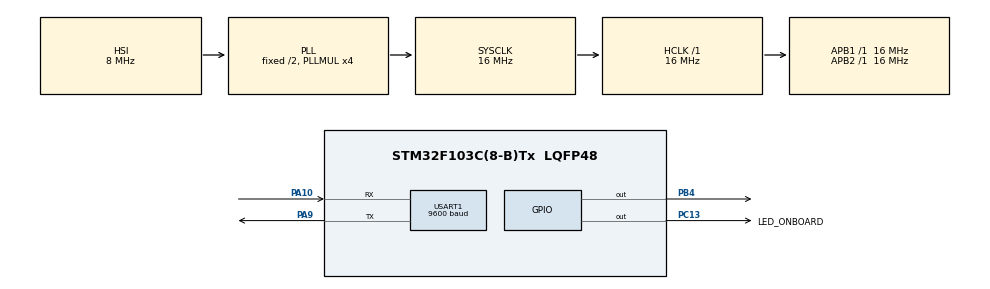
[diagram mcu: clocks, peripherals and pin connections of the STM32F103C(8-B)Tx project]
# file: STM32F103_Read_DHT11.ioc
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Mcu.Family=STM32F1
Mcu.Name=STM32F103C(8-B)Tx
Mcu.Package=LQFP48
NVIC.PriorityGroup=NVIC_PRIORITYGROUP_4
NVIC.USART1_IRQn=true\:0\:0\:false\:false\:true\:true\:true\:true
PA10.Mode=Asynchronous
PA10.Signal=USART1_RX
PA13.Mode=Serial_Wire
PA13.Signal=SYS_JTMS-SWDIO
PA14.Mode=Serial_Wire
PA14.Signal=SYS_JTCK-SWCLK
PA9.Mode=Asynchronous
PA9.Signal=USART1_TX
PB4.GPIO_ModeDefaultOutputPP=GPIO_MODE_OUTPUT_OD
PB4.GPIO_PuPd=GPIO_NOPULL
PB4.Signal=GPIO_Output
PC13-TAMPER-RTC.GPIO_Label=LED_ONBOARD
PC13-TAMPER-RTC.Signal=GPIO_Output
PD0-OSC_IN.Mode=HSE-External-Oscillator
PD0-OSC_IN.Signal=RCC_OSC_IN
PD1-OSC_OUT.Mode=HSE-External-Oscillator
PD1-OSC_OUT.Signal=RCC_OSC_OUT
ProjectManager.HeapSize=0x200
ProjectManager.StackSize=0x400
ProjectManager.TargetToolchain=STM32CubeIDE
RCC.AHBFreq_Value=16000000
RCC.APB1Freq_Value=16000000
RCC.APB1TimFreq_Value=16000000
RCC.APB2Freq_Value=16000000
RCC.APB2TimFreq_Value=16000000
RCC.HCLKFreq_Value=16000000
RCC.PLLMUL=RCC_PLL_MUL4
RCC.SYSCLKFreq_VALUE=16000000
RCC.SYSCLKSource=RCC_SYSCLKSOURCE_PLLCLK
RCC.USBFreq_Value=16000000
TIM2.Prescaler=15
USART1.BaudRate=9600
USART1.VirtualMode=VM_ASYNC
VP_TIM2_VS_ClockSourceINT.Mode=Internal
board=custom

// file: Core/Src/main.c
/* USER CODE BEGIN Header */
/**
  ******************************************************************************
  * @file           : main.c
  * @brief          : Main program body
  ******************************************************************************
  * @attention
  *
  * Copyright (c) 2025 STMicroelectronics.
  * All rights reserved.
  *
  * This software is licensed under terms that can be found in the LICENSE file
  * in the root directory of this software component.
  * If no LICENSE file comes with this software, it is provided AS-IS.
  *
  ******************************************************************************
  */
/* USER CODE END Header */
#include "main.h"

/* USER CODE BEGIN Includes */
#include "DHT11.h"
#include <stdio.h>
#include <string.h>
//#include "usart.h"
/* USER CODE END Includes */

TIM_HandleTypeDef htim2;

UART_HandleTypeDef huart1;

/* USER CODE BEGIN PV */
volatile int temperature = 0;
dht11_t dht11_sensor;
char uartBuffer[20];
/* USER CODE END PV */

void SystemClock_Config(void);
static void MX_GPIO_Init(void);
static void MX_TIM2_Init(void);
static void MX_USART1_UART_Init(void);

int main(void)
{

  /* MCU Configuration--------------------------------------------------------*/

  /* Reset of all peripherals, Initializes the Flash interface and the Systick. */
  HAL_Init();

  /* Configure the system clock */
  SystemClock_Config();

  /* Initialize all configured peripherals */
  MX_GPIO_Init();
  MX_TIM2_Init();
  MX_USART1_UART_Init();
  /* USER CODE BEGIN 2 */
  init_dht11(&dht11_sensor, &htim2, GPIOB, GPIO_PIN_4);
  HAL_TIM_Base_Start(&htim2);

//  // Gửi lệnh AT để kiểm tra kết nối HM10
//  char at_cmd[] = "AT\r\n";
//  HAL_UART_Transmit(&huart1, (uint8_t*)at_cmd, strlen(at_cmd), HAL_MAX_DELAY);
//  HAL_Delay(1000); // Đợi phản hồi từ HM10
//
//  // Cấu hình HM10 thành chế độ BLE Peripheral
//  char cmd_role[] = "AT+ROLE1\r\n";
//  HAL_UART_Transmit(&huart1, (uint8_t*)cmd_role, strlen(cmd_role), HAL_MAX_DELAY);
//  HAL_Delay(1000);
//
//  // Đặt tên cho module HM10 (tùy chọn)
//  char cmd_name[] = "AT+NAMEhm10\r\n";
//  HAL_UART_Transmit(&huart1, (uint8_t*)cmd_name, strlen(cmd_name), HAL_MAX_DELAY);
//  HAL_Delay(1000);
//
//  // Khởi động lại HM10 để áp dụng cấu hình
//  char cmd_reset[] = "AT+RESET\r\n";
//  HAL_UART_Transmit(&huart1, (uint8_t*)cmd_reset, strlen(cmd_reset), HAL_MAX_DELAY);
//  HAL_Delay(2000); // Chờ module khởi động lại
//  /* USER CODE END 2 */

  /* Infinite loop */
  /* USER CODE BEGIN WHILE */
  while (1)
  {
	  HAL_GPIO_WritePin(LED_ONBOARD_GPIO_Port, LED_ONBOARD_Pin, GPIO_PIN_SET);
	  HAL_Delay(200);
	  HAL_GPIO_WritePin(LED_ONBOARD_GPIO_Port, LED_ONBOARD_Pin, GPIO_PIN_RESET);
	  HAL_Delay(200);
	  // ReaD DHT11
	  if (readDHT11(&dht11_sensor)) {
		// Lưu giá trị nhiệt độ vào biến global
		temperature = dht11_sensor.temperature;
	  }

	  HAL_GPIO_WritePin(LED_ONBOARD_GPIO_Port, LED_ONBOARD_Pin, GPIO_PIN_SET);
	  HAL_Delay(200);
	  HAL_GPIO_WritePin(LED_ONBOARD_GPIO_Port, LED_ONBOARD_Pin, GPIO_PIN_RESET);
	  HAL_Delay(200);
	  HAL_Delay(3000);

	  // Định dạng dữ liệu dưới dạng chuỗi
	  sprintf(uartBuffer, "Temp: %d C\r\n", temperature);
//	  sprintf(uartBuffer, "Temp: 100 C\r\n");

	  // Gửi dữ liệu qua USART1
	  HAL_UART_Transmit(&huart1, (uint8_t*)uartBuffer, strlen(uartBuffer), 100);

	  // Đợi 1 giây rồi gửi tiếp
	  HAL_Delay(1000);

    /* USER CODE END WHILE */

  }
}

void SystemClock_Config(void)
{
  RCC_OscInitTypeDef RCC_OscInitStruct = {0};
  RCC_ClkInitTypeDef RCC_ClkInitStruct = {0};

  /** Initializes the RCC Oscillators according to the specified parameters
  * in the RCC_OscInitTypeDef structure.
  */
  RCC_OscInitStruct.OscillatorType = RCC_OSCILLATORTYPE_HSI;
  RCC_OscInitStruct.HSIState = RCC_HSI_ON;
  RCC_OscInitStruct.HSICalibrationValue = RCC_HSICALIBRATION_DEFAULT;
  RCC_OscInitStruct.PLL.PLLState = RCC_PLL_ON;
  RCC_OscInitStruct.PLL.PLLSource = RCC_PLLSOURCE_HSI_DIV2;
  RCC_OscInitStruct.PLL.PLLMUL = RCC_PLL_MUL4;
  if (HAL_RCC_OscConfig(&RCC_OscInitStruct) != HAL_OK)
  {
    Error_Handler();
  }

  /** Initializes the CPU, AHB and APB buses clocks
  */
  RCC_ClkInitStruct.ClockType = RCC_CLOCKTYPE_HCLK|RCC_CLOCKTYPE_SYSCLK
                              |RCC_CLOCKTYPE_PCLK1|RCC_CLOCKTYPE_PCLK2;
  RCC_ClkInitStruct.SYSCLKSource = RCC_SYSCLKSOURCE_PLLCLK;
  RCC_ClkInitStruct.AHBCLKDivider = RCC_SYSCLK_DIV1;
  RCC_ClkInitStruct.APB1CLKDivider = RCC_HCLK_DIV1;
  RCC_ClkInitStruct.APB2CLKDivider = RCC_HCLK_DIV1;

  if (HAL_RCC_ClockConfig(&RCC_ClkInitStruct, FLASH_LATENCY_0) != HAL_OK)
  {
    Error_Handler();
  }
}

static void MX_TIM2_Init(void)
{

  TIM_ClockConfigTypeDef sClockSourceConfig = {0};
  TIM_MasterConfigTypeDef sMasterConfig = {0};

  htim2.Instance = TIM2;
  htim2.Init.Prescaler = 15;
  htim2.Init.CounterMode = TIM_COUNTERMODE_UP;
  htim2.Init.Period = 65535;
  htim2.Init.ClockDivision = TIM_CLOCKDIVISION_DIV1;
  htim2.Init.AutoReloadPreload = TIM_AUTORELOAD_PRELOAD_DISABLE;
  if (HAL_TIM_Base_Init(&htim2) != HAL_OK)
  {
    Error_Handler();
  }
  sClockSourceConfig.ClockSource = TIM_CLOCKSOURCE_INTERNAL;
  if (HAL_TIM_ConfigClockSource(&htim2, &sClockSourceConfig) != HAL_OK)
  {
    Error_Handler();
  }
  sMasterConfig.MasterOutputTrigger = TIM_TRGO_RESET;
  sMasterConfig.MasterSlaveMode = TIM_MASTERSLAVEMODE_DISABLE;
  if (HAL_TIMEx_MasterConfigSynchronization(&htim2, &sMasterConfig) != HAL_OK)
  {
    Error_Handler();
  }

}

static void MX_USART1_UART_Init(void)
{

  huart1.Instance = USART1;
  huart1.Init.BaudRate = 9600;
  huart1.Init.WordLength = UART_WORDLENGTH_8B;
  huart1.Init.StopBits = UART_STOPBITS_1;
  huart1.Init.Parity = UART_PARITY_NONE;
  huart1.Init.Mode = UART_MODE_TX_RX;
  huart1.Init.HwFlowCtl = UART_HWCONTROL_NONE;
  huart1.Init.OverSampling = UART_OVERSAMPLING_16;
  if (HAL_UART_Init(&huart1) != HAL_OK)
  {
    Error_Handler();
  }

}

static void MX_GPIO_Init(void)
{
  GPIO_InitTypeDef GPIO_InitStruct = {0};

  /* GPIO Ports Clock Enable */
  __HAL_RCC_GPIOC_CLK_ENABLE();
  __HAL_RCC_GPIOD_CLK_ENABLE();
  __HAL_RCC_GPIOA_CLK_ENABLE();
  __HAL_RCC_GPIOB_CLK_ENABLE();

  /*Configure GPIO pin Output Level */
  HAL_GPIO_WritePin(LED_ONBOARD_GPIO_Port, LED_ONBOARD_Pin, GPIO_PIN_RESET);

  /*Configure GPIO pin Output Level */
  HAL_GPIO_WritePin(GPIOB, GPIO_PIN_4, GPIO_PIN_RESET);

  /*Configure GPIO pin : LED_ONBOARD_Pin */
  GPIO_InitStruct.Pin = LED_ONBOARD_Pin;
  GPIO_InitStruct.Mode = GPIO_MODE_OUTPUT_PP;
  GPIO_InitStruct.Pull = GPIO_NOPULL;
  GPIO_InitStruct.Speed = GPIO_SPEED_FREQ_LOW;
  HAL_GPIO_Init(LED_ONBOARD_GPIO_Port, &GPIO_InitStruct);

  /*Configure GPIO pin : PB4 */
  GPIO_InitStruct.Pin = GPIO_PIN_4;
  GPIO_InitStruct.Mode = GPIO_MODE_OUTPUT_OD;
  GPIO_InitStruct.Pull = GPIO_NOPULL;
  GPIO_InitStruct.Speed = GPIO_SPEED_FREQ_LOW;
  HAL_GPIO_Init(GPIOB, &GPIO_InitStruct);

}

void Error_Handler(void)
{
  __disable_irq();
  while (1)
  {
  }
}
